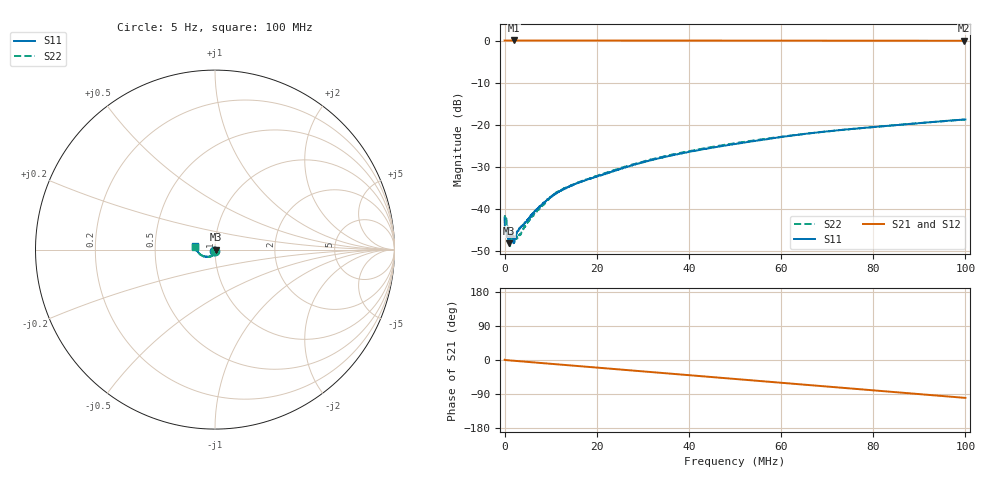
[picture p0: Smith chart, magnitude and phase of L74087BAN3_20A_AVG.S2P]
!Agilent Technologies,E5061B,MY49102235,A.02.00
!Date: Tue Jul 11 15:17:37 2023
!Data & Calibration Information:
!Freq	S11:SOLT2(ON)	S21:SOLT2(ON)	S12:SOLT2(ON)	S22:SOLT2(ON)
# Hz S RI R 50
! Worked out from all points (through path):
!   1600 points, 5 Hz to 100 MHz, reference 50 ohm
!   highest |S21| = 0.02 dB at 1.939 MHz (marker M1); lowest = -0.1 dB at 99.75 MHz (marker M2)
!   group delay of S21, straight-line fit = 2.78 ns
!   lowest |S11| = -48.2 dB at 1.001 MHz (marker M3), VSWR 1.01, Z = 50.4 - j0.0766 ohm
!   |S11| at or under -10 dB: start of sweep to end of sweep
!   |S22| runs from -48.9 to -18.8 dB; largest |S21 - S12| = 0.0027
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5  -0.00524 -0.00564  1.002 0.00794  1 0.0103  -0.0015 -0.00754
437778.6  0.00512 -0.000582  1.001 -0.0054  1.001 -0.00607  0.0066 -0.00223
625395.8  0.00509 -0.000639  1.002 -0.0104  1.002 -0.00991  0.00611 -0.00102
1000630  0.00381 -0.000761  1.001 -0.0164  1.001 -0.0161  0.00517 -0.00168
1563482  0.00438 -0.00288  1.001 -0.0263  1.001 -0.0255  0.00318 -0.00347
1938717  0.00314 -0.0023  1.002 -0.0335  1.002 -0.033  0.00345 -0.00204
2376490  0.00333 -0.00296  0.9998 -0.041  1 -0.0415  0.00397 -0.00263
3252037  0.00426 -0.00414  0.9994 -0.0566  0.9992 -0.0564  0.00317 -0.00365
6003757  0.00335 -0.00781  0.9955 -0.1045  0.9955 -0.1042  0.00292 -0.00764
9505946  0.00149 -0.013  0.9872 -0.1654  0.9874 -0.1651  0.000922 -0.013
1.156974e7  2.71e-06 -0.0158  0.9808 -0.2007  0.9805 -0.2004  -0.000836 -0.016
1.669794e7  -0.00386 -0.0207  0.9582 -0.2876  0.9581 -0.2872  -0.00414 -0.0209
2.582865e7  -0.0111 -0.0284  0.9006 -0.4361  0.9003 -0.4358  -0.00889 -0.0299
3.333334e7  -0.0199 -0.0344  0.8353 -0.5499  0.8352 -0.5495  -0.0184 -0.0359
4.033771e7  -0.0292 -0.038  0.7616 -0.6473  0.7617 -0.6469  -0.0287 -0.0396
5.003127e7  -0.0434 -0.0398  0.6414 -0.7662  0.6413 -0.7659  -0.0436 -0.0414
6.672921e7  -0.0723 -0.0334  0.3933 -0.9168  0.3936 -0.9167  -0.0716 -0.0344
7.53596e7  -0.0857 -0.024  0.2512 -0.9644  0.2514 -0.9643  -0.0852 -0.0256
8.33646e7  -0.0963 -0.0116  0.1146 -0.9894  0.1146 -0.9894  -0.0961 -0.0143
9.155722e7  -0.106 0.00326  -0.0277 -0.9945  -0.0276 -0.9945  -0.1063 -0.000523
9.974984e7  -0.1134 0.0199  -0.1689 -0.9793  -0.1685 -0.9795  -0.1136 0.0165
1e8  -0.1136 0.0204  -0.1731 -0.9787  -0.1729 -0.9788  -0.114 0.0171
